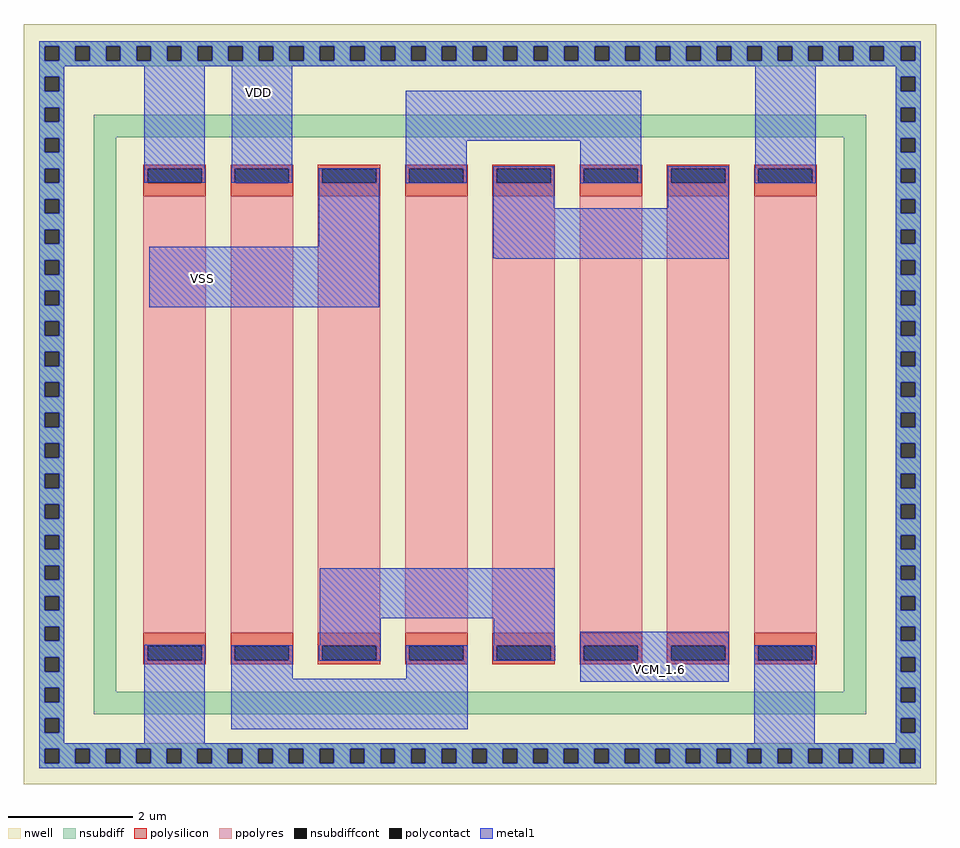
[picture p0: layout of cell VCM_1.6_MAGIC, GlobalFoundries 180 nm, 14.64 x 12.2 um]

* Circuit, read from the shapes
.subckt VCM_1.6_MAGIC VDD VSS VCM_1.6
XR1 VDD VDD VSUBS ppolyf_u r_width=1u r_length=7u m=2
XR2 VDD n1 VSUBS ppolyf_u r_width=1u r_length=7u
XR3 VSS n2 VSUBS ppolyf_u r_width=1u r_length=7u
XR4 n3 n1 VSUBS ppolyf_u r_width=1u r_length=7u
XR5 n4 n2 VSUBS ppolyf_u r_width=1u r_length=7u
XR6 n3 VCM_1.6 VSUBS ppolyf_u r_width=1u r_length=7u
XR7 n4 VCM_1.6 VSUBS ppolyf_u r_width=1u r_length=7u
.ends

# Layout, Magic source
magic
tech gf180mcuC
magscale 1 10
<< nwell >>
rect -260 1850 2668 2179
rect -260 -60 -60 1850
rect 1721 1802 1751 1850
rect 1499 -60 2059 68
rect 2468 -60 2668 1850
rect -260 -260 2668 -60
<< nsubdiff >>
rect -210 2107 2618 2124
rect -210 2061 -193 2107
rect -147 2061 -95 2107
rect -48 2061 4 2107
rect 50 2061 102 2107
rect 148 2061 200 2107
rect 246 2061 298 2107
rect 344 2061 396 2107
rect 442 2061 494 2107
rect 540 2061 592 2107
rect 638 2061 690 2107
rect 736 2061 788 2107
rect 834 2061 886 2107
rect 932 2061 984 2107
rect 1030 2061 1082 2107
rect 1128 2061 1180 2107
rect 1226 2061 1278 2107
rect 1324 2061 1376 2107
rect 1422 2061 1474 2107
rect 1520 2061 1572 2107
rect 1618 2061 1670 2107
rect 1716 2061 1768 2107
rect 1814 2061 1866 2107
rect 1912 2061 1964 2107
rect 2010 2061 2062 2107
rect 2108 2061 2160 2107
rect 2206 2061 2258 2107
rect 2304 2061 2356 2107
rect 2402 2061 2454 2107
rect 2500 2061 2555 2107
rect 2601 2061 2618 2107
rect -210 2044 2618 2061
rect -210 2009 -130 2044
rect -210 1963 -193 2009
rect -147 1963 -130 2009
rect -210 1911 -130 1963
rect -210 1865 -193 1911
rect -147 1865 -130 1911
rect -210 1813 -130 1865
rect -210 1767 -193 1813
rect -147 1767 -130 1813
rect -210 1715 -130 1767
rect -210 1669 -193 1715
rect -147 1669 -130 1715
rect -210 1617 -130 1669
rect -210 1571 -193 1617
rect -147 1571 -130 1617
rect -210 1519 -130 1571
rect -210 1473 -193 1519
rect -147 1473 -130 1519
rect -210 1421 -130 1473
rect -210 1375 -193 1421
rect -147 1375 -130 1421
rect -210 1323 -130 1375
rect -210 1277 -193 1323
rect -147 1277 -130 1323
rect -210 1225 -130 1277
rect -210 1179 -193 1225
rect -147 1179 -130 1225
rect -210 1127 -130 1179
rect -210 1081 -193 1127
rect -147 1081 -130 1127
rect -210 1029 -130 1081
rect -210 983 -193 1029
rect -147 983 -130 1029
rect -210 931 -130 983
rect -210 885 -193 931
rect -147 885 -130 931
rect -210 833 -130 885
rect -210 787 -193 833
rect -147 787 -130 833
rect -210 735 -130 787
rect -210 689 -193 735
rect -147 689 -130 735
rect -210 637 -130 689
rect -210 591 -193 637
rect -147 591 -130 637
rect -210 539 -130 591
rect -210 493 -193 539
rect -147 493 -130 539
rect -210 441 -130 493
rect -210 395 -193 441
rect -147 395 -130 441
rect -210 343 -130 395
rect -210 297 -193 343
rect -147 297 -130 343
rect -210 245 -130 297
rect -210 199 -193 245
rect -147 199 -130 245
rect -210 147 -130 199
rect -210 101 -193 147
rect -147 101 -130 147
rect -210 49 -130 101
rect -210 3 -193 49
rect -147 3 -130 49
rect -210 -49 -130 3
rect -210 -95 -193 -49
rect -147 -95 -130 -49
rect -210 -130 -130 -95
rect 2538 2009 2618 2044
rect 2538 1963 2555 2009
rect 2601 1963 2618 2009
rect 2538 1911 2618 1963
rect 2538 1865 2555 1911
rect 2601 1865 2618 1911
rect 2538 1813 2618 1865
rect 2538 1767 2555 1813
rect 2601 1767 2618 1813
rect 2538 1715 2618 1767
rect 2538 1669 2555 1715
rect 2601 1669 2618 1715
rect 2538 1617 2618 1669
rect 2538 1571 2555 1617
rect 2601 1571 2618 1617
rect 2538 1519 2618 1571
rect 2538 1473 2555 1519
rect 2601 1473 2618 1519
rect 2538 1421 2618 1473
rect 2538 1375 2555 1421
rect 2601 1375 2618 1421
rect 2538 1323 2618 1375
rect 2538 1277 2555 1323
rect 2601 1277 2618 1323
rect 2538 1225 2618 1277
rect 2538 1179 2555 1225
rect 2601 1179 2618 1225
rect 2538 1127 2618 1179
rect 2538 1081 2555 1127
rect 2601 1081 2618 1127
rect 2538 1029 2618 1081
rect 2538 983 2555 1029
rect 2601 983 2618 1029
rect 2538 931 2618 983
rect 2538 885 2555 931
rect 2601 885 2618 931
rect 2538 833 2618 885
rect 2538 787 2555 833
rect 2601 787 2618 833
rect 2538 735 2618 787
rect 2538 689 2555 735
rect 2601 689 2618 735
rect 2538 637 2618 689
rect 2538 591 2555 637
rect 2601 591 2618 637
rect 2538 539 2618 591
rect 2538 493 2555 539
rect 2601 493 2618 539
rect 2538 441 2618 493
rect 2538 395 2555 441
rect 2601 395 2618 441
rect 2538 343 2618 395
rect 2538 297 2555 343
rect 2601 297 2618 343
rect 2538 245 2618 297
rect 2538 199 2555 245
rect 2601 199 2618 245
rect 2538 147 2618 199
rect 2538 101 2555 147
rect 2601 101 2618 147
rect 2538 49 2618 101
rect 2538 3 2555 49
rect 2601 3 2618 49
rect 2538 -49 2618 3
rect 2538 -95 2555 -49
rect 2601 -95 2618 -49
rect 2538 -130 2618 -95
rect -210 -147 2618 -130
rect -210 -193 -193 -147
rect -147 -193 -95 -147
rect -49 -193 3 -147
rect 49 -193 101 -147
rect 147 -193 199 -147
rect 245 -193 297 -147
rect 343 -193 395 -147
rect 441 -193 493 -147
rect 539 -193 591 -147
rect 637 -193 689 -147
rect 735 -193 787 -147
rect 833 -193 885 -147
rect 931 -193 983 -147
rect 1029 -193 1081 -147
rect 1127 -193 1179 -147
rect 1225 -193 1277 -147
rect 1323 -193 1375 -147
rect 1421 -193 1473 -147
rect 1519 -193 1571 -147
rect 1617 -193 1669 -147
rect 1715 -193 1767 -147
rect 1813 -193 1865 -147
rect 1911 -193 1963 -147
rect 2009 -193 2061 -147
rect 2107 -193 2159 -147
rect 2205 -193 2257 -147
rect 2303 -193 2355 -147
rect 2401 -193 2453 -147
rect 2499 -193 2551 -147
rect 2601 -193 2618 -147
rect -210 -210 2618 -193
<< nsubdiffcont >>
rect -193 2061 -147 2107
rect -95 2061 -48 2107
rect 4 2061 50 2107
rect 102 2061 148 2107
rect 200 2061 246 2107
rect 298 2061 344 2107
rect 396 2061 442 2107
rect 494 2061 540 2107
rect 592 2061 638 2107
rect 690 2061 736 2107
rect 788 2061 834 2107
rect 886 2061 932 2107
rect 984 2061 1030 2107
rect 1082 2061 1128 2107
rect 1180 2061 1226 2107
rect 1278 2061 1324 2107
rect 1376 2061 1422 2107
rect 1474 2061 1520 2107
rect 1572 2061 1618 2107
rect 1670 2061 1716 2107
rect 1768 2061 1814 2107
rect 1866 2061 1912 2107
rect 1964 2061 2010 2107
rect 2062 2061 2108 2107
rect 2160 2061 2206 2107
rect 2258 2061 2304 2107
rect 2356 2061 2402 2107
rect 2454 2061 2500 2107
rect 2555 2061 2601 2107
rect -193 1963 -147 2009
rect -193 1865 -147 1911
rect -193 1767 -147 1813
rect -193 1669 -147 1715
rect -193 1571 -147 1617
rect -193 1473 -147 1519
rect -193 1375 -147 1421
rect -193 1277 -147 1323
rect -193 1179 -147 1225
rect -193 1081 -147 1127
rect -193 983 -147 1029
rect -193 885 -147 931
rect -193 787 -147 833
rect -193 689 -147 735
rect -193 591 -147 637
rect -193 493 -147 539
rect -193 395 -147 441
rect -193 297 -147 343
rect -193 199 -147 245
rect -193 101 -147 147
rect -193 3 -147 49
rect -193 -95 -147 -49
rect 2555 1963 2601 2009
rect 2555 1865 2601 1911
rect 2555 1767 2601 1813
rect 2555 1669 2601 1715
rect 2555 1571 2601 1617
rect 2555 1473 2601 1519
rect 2555 1375 2601 1421
rect 2555 1277 2601 1323
rect 2555 1179 2601 1225
rect 2555 1081 2601 1127
rect 2555 983 2601 1029
rect 2555 885 2601 931
rect 2555 787 2601 833
rect 2555 689 2601 735
rect 2555 591 2601 637
rect 2555 493 2601 539
rect 2555 395 2601 441
rect 2555 297 2601 343
rect 2555 199 2601 245
rect 2555 101 2601 147
rect 2555 3 2601 49
rect 2555 -95 2601 -49
rect -193 -193 -147 -147
rect -95 -193 -49 -147
rect 3 -193 49 -147
rect 101 -193 147 -147
rect 199 -193 245 -147
rect 297 -193 343 -147
rect 395 -193 441 -147
rect 493 -193 539 -147
rect 591 -193 637 -147
rect 689 -193 735 -147
rect 787 -193 833 -147
rect 885 -193 931 -147
rect 983 -193 1029 -147
rect 1081 -193 1127 -147
rect 1179 -193 1225 -147
rect 1277 -193 1323 -147
rect 1375 -193 1421 -147
rect 1473 -193 1519 -147
rect 1571 -193 1617 -147
rect 1669 -193 1715 -147
rect 1767 -193 1813 -147
rect 1865 -193 1911 -147
rect 1963 -193 2009 -147
rect 2061 -193 2107 -147
rect 2159 -193 2205 -147
rect 2257 -193 2303 -147
rect 2355 -193 2401 -147
rect 2453 -193 2499 -147
rect 2551 -193 2601 -147
<< metal1 >>
rect -210 2107 2618 2124
rect -210 2061 -193 2107
rect -147 2061 -95 2107
rect -48 2061 4 2107
rect 50 2061 102 2107
rect 148 2061 200 2107
rect 246 2061 298 2107
rect 344 2061 396 2107
rect 442 2061 494 2107
rect 540 2061 592 2107
rect 638 2061 690 2107
rect 736 2061 788 2107
rect 834 2061 886 2107
rect 932 2061 984 2107
rect 1030 2061 1082 2107
rect 1128 2061 1180 2107
rect 1226 2061 1278 2107
rect 1324 2061 1376 2107
rect 1422 2061 1474 2107
rect 1520 2061 1572 2107
rect 1618 2061 1670 2107
rect 1716 2061 1768 2107
rect 1814 2061 1866 2107
rect 1912 2061 1964 2107
rect 2010 2061 2062 2107
rect 2108 2061 2160 2107
rect 2206 2061 2258 2107
rect 2304 2061 2356 2107
rect 2402 2061 2454 2107
rect 2500 2061 2555 2107
rect 2601 2061 2618 2107
rect -210 2044 2618 2061
rect -210 2009 -130 2044
rect -210 1963 -193 2009
rect -147 1963 -130 2009
rect -210 1911 -130 1963
rect -210 1865 -193 1911
rect -147 1865 -130 1911
rect -210 1813 -130 1865
rect -210 1767 -193 1813
rect -147 1767 -130 1813
rect -210 1715 -130 1767
rect -210 1669 -193 1715
rect -147 1669 -130 1715
rect 127 1671 321 2044
rect 408 1670 602 2044
rect 975 1964 1721 1965
rect 966 1804 1721 1964
rect -210 1617 -130 1669
rect -210 1571 -193 1617
rect -147 1571 -130 1617
rect -210 1519 -130 1571
rect -210 1473 -193 1519
rect -147 1473 -130 1519
rect -210 1421 -130 1473
rect 687 1464 881 1716
rect 966 1668 1162 1804
rect -210 1375 -193 1421
rect -147 1375 -130 1421
rect -210 1323 -130 1375
rect -210 1277 -193 1323
rect -147 1277 -130 1323
rect -210 1225 -130 1277
rect 143 1270 881 1464
rect 1247 1587 1443 1723
rect 1525 1668 1721 1804
rect 1806 1722 2002 1723
rect 1806 1676 2003 1722
rect 1806 1587 2002 1676
rect 2088 1668 2282 2044
rect 2538 2009 2618 2044
rect 2538 1963 2555 2009
rect 2601 1963 2618 2009
rect 2538 1911 2618 1963
rect 2538 1865 2555 1911
rect 2601 1865 2618 1911
rect 2538 1813 2618 1865
rect 2538 1767 2555 1813
rect 2601 1767 2618 1813
rect 2538 1715 2618 1767
rect 2538 1669 2555 1715
rect 2601 1669 2618 1715
rect 1247 1427 2002 1587
rect 1256 1426 2002 1427
rect 2538 1617 2618 1669
rect 2538 1571 2555 1617
rect 2601 1571 2618 1617
rect 2538 1519 2618 1571
rect 2538 1473 2555 1519
rect 2601 1473 2618 1519
rect 2538 1421 2618 1473
rect 2538 1375 2555 1421
rect 2601 1375 2618 1421
rect 2538 1323 2618 1375
rect 2538 1277 2555 1323
rect 2601 1277 2618 1323
rect -210 1179 -193 1225
rect -147 1179 -130 1225
rect -210 1127 -130 1179
rect -210 1081 -193 1127
rect -147 1081 -130 1127
rect -210 1029 -130 1081
rect -210 983 -193 1029
rect -147 983 -130 1029
rect -210 931 -130 983
rect -210 885 -193 931
rect -147 885 -130 931
rect -210 833 -130 885
rect -210 787 -193 833
rect -147 787 -130 833
rect -210 735 -130 787
rect -210 689 -193 735
rect -147 689 -130 735
rect -210 637 -130 689
rect -210 591 -193 637
rect -147 591 -130 637
rect -210 539 -130 591
rect -210 493 -193 539
rect -147 493 -130 539
rect -210 441 -130 493
rect -210 395 -193 441
rect -147 395 -130 441
rect 2538 1225 2618 1277
rect 2538 1179 2555 1225
rect 2601 1179 2618 1225
rect 2538 1127 2618 1179
rect 2538 1081 2555 1127
rect 2601 1081 2618 1127
rect 2538 1029 2618 1081
rect 2538 983 2555 1029
rect 2601 983 2618 1029
rect 2538 931 2618 983
rect 2538 885 2555 931
rect 2601 885 2618 931
rect 2538 833 2618 885
rect 2538 787 2555 833
rect 2601 787 2618 833
rect 2538 735 2618 787
rect 2538 689 2555 735
rect 2601 689 2618 735
rect 2538 637 2618 689
rect 2538 591 2555 637
rect 2601 591 2618 637
rect 2538 539 2618 591
rect 2538 493 2555 539
rect 2601 493 2618 539
rect 2538 441 2618 493
rect 698 432 1444 433
rect -210 343 -130 395
rect -210 297 -193 343
rect -147 297 -130 343
rect -210 245 -130 297
rect -210 199 -193 245
rect -147 199 -130 245
rect -210 147 -130 199
rect 689 272 1444 432
rect -210 101 -193 147
rect -147 101 -130 147
rect -210 49 -130 101
rect -210 3 -193 49
rect -147 3 -130 49
rect -210 -49 -130 3
rect -210 -95 -193 -49
rect -147 -95 -130 -49
rect -210 -130 -130 -95
rect 126 -130 320 187
rect 406 77 603 185
rect 689 136 885 272
rect 967 77 1164 186
rect 1248 183 1444 272
rect 2538 395 2555 441
rect 2601 395 2618 441
rect 2538 343 2618 395
rect 2538 297 2555 343
rect 2601 297 2618 343
rect 2538 245 2618 297
rect 1248 137 1445 183
rect 1248 136 1444 137
rect 406 -84 1164 77
rect 1525 68 2003 228
rect 2538 199 2555 245
rect 2601 199 2618 245
rect 2084 -130 2278 185
rect 2538 147 2618 199
rect 2538 101 2555 147
rect 2601 101 2618 147
rect 2538 49 2618 101
rect 2538 3 2555 49
rect 2601 3 2618 49
rect 2538 -49 2618 3
rect 2538 -95 2555 -49
rect 2601 -95 2618 -49
rect 2538 -130 2618 -95
rect -210 -147 2618 -130
rect -210 -193 -193 -147
rect -147 -193 -95 -147
rect -49 -193 3 -147
rect 49 -193 101 -147
rect 147 -193 199 -147
rect 245 -193 297 -147
rect 343 -193 395 -147
rect 441 -193 493 -147
rect 539 -193 591 -147
rect 637 -193 689 -147
rect 735 -193 787 -147
rect 833 -193 885 -147
rect 931 -193 983 -147
rect 1029 -193 1081 -147
rect 1127 -193 1179 -147
rect 1225 -193 1277 -147
rect 1323 -193 1375 -147
rect 1421 -193 1473 -147
rect 1519 -193 1571 -147
rect 1617 -193 1669 -147
rect 1715 -193 1767 -147
rect 1813 -193 1865 -147
rect 1911 -193 1963 -147
rect 2009 -193 2061 -147
rect 2107 -193 2159 -147
rect 2205 -193 2257 -147
rect 2303 -193 2355 -147
rect 2401 -193 2453 -147
rect 2499 -193 2551 -147
rect 2601 -193 2618 -147
rect -210 -210 2618 -193
use ppolyf_u_PVCJS8  ppolyf_u_PVCJS8_0
transform 1 0 1204 0 1 926
box -1264 -986 1264 986
<< labels >>
flabel metal1 493 1958 493 1958 0 FreeSans 1600 0 0 0 VDD
port 0 nsew
flabel metal1 312 1363 312 1363 0 FreeSans 1600 0 0 0 VSS
port 1 nsew
flabel metal1 1779 108 1779 108 0 FreeSans 800 0 0 0 VCM_1.6
port 3 nsew
<< end >>

# cell ppolyf_u_PVCJS8: kit device ppolyf_u, w 1.0 l 7.0 m 1 nx 8 wmin 0.80 lmin 1.00 rho 315 val 2.37k dummy 0 dw 0.07 term 0.0 sterm 0.0 caplen 0.4 snake 0 glc 0 grc 0 gtc 0 gbc 0 roverlap 0 endcov 100 full_metal 0
